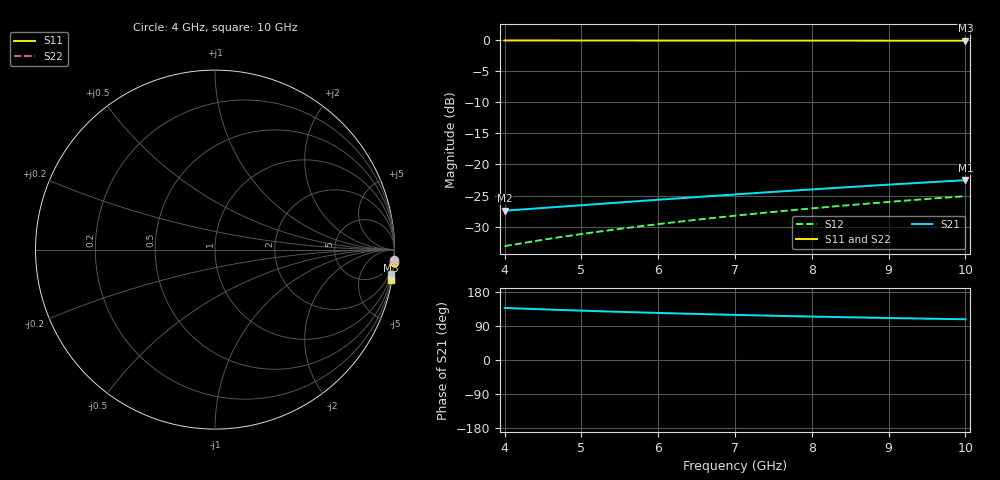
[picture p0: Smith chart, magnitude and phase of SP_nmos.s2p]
! Touchstone Ver. 1.0
! Number of ports is 2
# Hz	S	RI	R	50.000000
! SCATTERING PARAMETERS  :
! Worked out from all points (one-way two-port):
!   31 points, 4 GHz to 10 GHz, reference 50 ohm
!   highest |S21| = -22.53 dB at 10 GHz (marker M1); lowest = -27.4 dB at 4 GHz (marker M2)
!   lowest |S11| = -0.1 dB at 10 GHz (marker M3), VSWR 275.77, Z = 24.7 - j580 ohm
!   |S11| at or under -10 dB: nowhere
!   |S22| runs from -0.1 to 0.0 dB; largest |S21 - S12| = 0.034
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4e9  0.9964 -0.0689  -0.0313 0.0287  0.00104 0.0219  0.9953 -0.0569
4.2e9  0.9961 -0.0723  -0.0311 0.0301  0.00115 0.023  0.995 -0.0597
4.4e9  0.9957 -0.0757  -0.0309 0.0315  0.00126 0.0241  0.9946 -0.0625
4.6e9  0.9953 -0.0791  -0.0307 0.033  0.00138 0.0252  0.9942 -0.0653
4.8e9  0.9949 -0.0825  -0.0306 0.0344  0.00151 0.0264  0.9939 -0.0681
5e9  0.9944 -0.086  -0.0304 0.0358  0.00165 0.0275  0.9935 -0.0708
5.2e9  0.994 -0.0894  -0.0301 0.0373  0.00179 0.0286  0.993 -0.0736
5.4e9  0.9935 -0.0928  -0.0299 0.0387  0.00193 0.0297  0.9926 -0.0764
5.6e9  0.993 -0.0961  -0.0297 0.0401  0.00208 0.0308  0.9922 -0.0791
5.8e9  0.9925 -0.0995  -0.0295 0.0416  0.00224 0.0319  0.9917 -0.0819
6e9  0.992 -0.1029  -0.0292 0.043  0.00241 0.033  0.9912 -0.0846
6.4e9  0.9909 -0.1097  -0.0287 0.0458  0.00276 0.0352  0.9903 -0.0901
6.6e9  0.9903 -0.1131  -0.0284 0.0473  0.00294 0.0363  0.9898 -0.0928
7e9  0.9892 -0.1198  -0.0279 0.0501  0.00334 0.0385  0.9887 -0.0982
7.4e9  0.9879 -0.1265  -0.0273 0.053  0.00376 0.0407  0.9876 -0.1036
7.6e9  0.9872 -0.1298  -0.0269 0.0544  0.00398 0.0418  0.987 -0.1062
8e9  0.9859 -0.1365  -0.0263 0.0572  0.00444 0.0441  0.9859 -0.1116
8.4e9  0.9845 -0.1431  -0.0256 0.06  0.00493 0.0463  0.9847 -0.1169
8.6e9  0.9838 -0.1465  -0.0252 0.0615  0.00518 0.0474  0.984 -0.1195
9e9  0.9822 -0.1531  -0.0245 0.0643  0.00572 0.0496  0.9828 -0.1247
9.4e9  0.9807 -0.1597  -0.0237 0.0671  0.00628 0.0518  0.9815 -0.1299
1e10  0.9782 -0.1695  -0.0224 0.0713  0.00718 0.0551  0.9794 -0.1377
